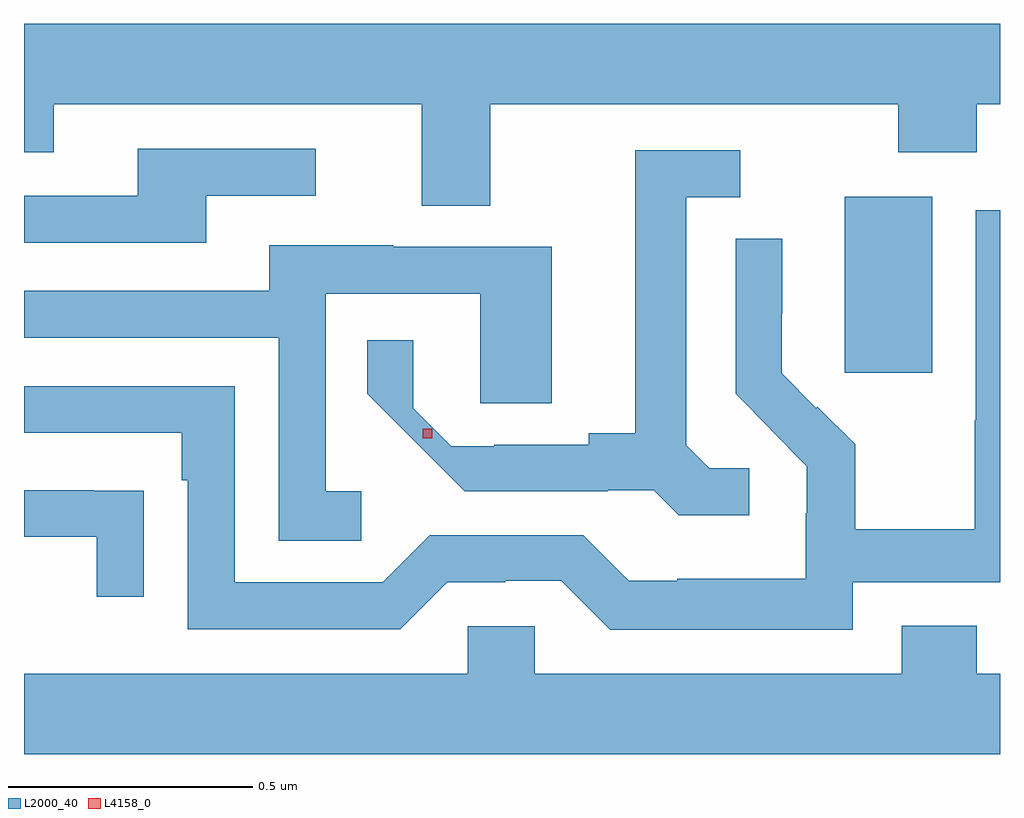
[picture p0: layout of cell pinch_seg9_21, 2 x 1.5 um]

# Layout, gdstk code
import gdstk
lib = gdstk.Library(unit=1e-6, precision=1e-09)
def R(c, l, rs):  # rectangles x0, y0, x1, y1
    for r in rs: c.add(gdstk.rectangle(r[:2], r[2:], *l))
def P(c, l, *ps):  # polygons
    for p in ps: c.add(gdstk.Polygon(p, *l))
L2000_40 = (2000, 40)
L4158_0 = (4158, 0)

pinch_seg9_21 = lib.new_cell('pinch_seg9_21')
R(pinch_seg9_21, L2000_40, [(1146.362,1210.521,1146.541,1210.882)])
P(pinch_seg9_21, L2000_40, [(1145.635,1211.072),(1146.472,1211.072),(1146.472,1210.973),(1146.632,1210.973),(1146.632,1211.072),(1146.68,1211.072),(1146.68,1211.236),(1144.68,1211.236),(1144.68,1210.973),(1144.741,1210.973),(1144.741,1211.072),(1145.495,1211.072),(1145.495,1210.864),(1145.635,1210.864)],
  [(1145.053,1210.884),(1145.278,1210.884),(1145.278,1210.98),(1144.913,1210.98),(1144.913,1210.884),(1144.68,1210.884),(1144.68,1210.788),(1145.053,1210.788)],
  [(1146.166,1210.326),(1146.084,1210.326),(1146.037,1210.373),(1146.037,1210.881),(1146.148,1210.881),(1146.148,1210.977),(1145.933,1210.977),(1145.933,1210.397),(1145.837,1210.397),(1145.837,1210.374),(1145.644,1210.374),(1145.644,1210.371),(1145.556,1210.371),(1145.478,1210.449),(1145.478,1210.588),(1145.383,1210.588),(1145.383,1210.478),(1145.583,1210.278),(1145.876,1210.278),(1145.876,1210.281),(1145.97,1210.281),(1146.022,1210.229),(1146.166,1210.229)],
  [(1146.378,1210.092),(1146.68,1210.092),(1146.68,1210.854),(1146.63,1210.854),(1146.63,1210.424),(1146.628,1210.424),(1146.628,1210.201),(1146.383,1210.201),(1146.383,1210.375),(1146.306,1210.452),(1146.303,1210.449),(1146.233,1210.52),(1146.233,1210.642),(1146.234,1210.642),(1146.234,1210.796),(1146.138,1210.796),(1146.138,1210.478),(1146.211,1210.405),(1146.21,1210.404),(1146.284,1210.33),(1146.284,1210.233),(1146.282,1210.233),(1146.282,1210.099),(1146.019,1210.099),(1146.019,1210.095),(1145.919,1210.095),(1145.826,1210.188),(1145.511,1210.188),(1145.415,1210.092),(1145.112,1210.092),(1145.112,1210.494),(1144.68,1210.494),(1144.68,1210.398),(1145.003,1210.398),(1145.003,1210.301),(1145.016,1210.301),(1145.016,1209.996),(1145.451,1209.996),(1145.547,1210.092),(1145.666,1210.092),(1145.666,1210.095),(1145.781,1210.095),(1145.881,1209.995),(1146.378,1209.995)],
  [(1145.371,1210.278),(1145.298,1210.278),(1145.298,1210.683),(1145.615,1210.683),(1145.615,1210.459),(1145.761,1210.459),(1145.761,1210.779),(1145.437,1210.779),(1145.437,1210.783),(1145.183,1210.783),(1145.183,1210.689),(1144.68,1210.689),(1144.68,1210.593),(1145.202,1210.593),(1145.202,1210.177),(1145.371,1210.177)],
  [(1144.925,1210.28),(1144.823,1210.28),(1144.823,1210.281),(1144.68,1210.281),(1144.68,1210.185),(1144.829,1210.185),(1144.829,1210.062),(1144.925,1210.062)],
  [(1146.68,1209.904),(1146.632,1209.904),(1146.632,1210.003),(1146.479,1210.003),(1146.479,1209.904),(1145.727,1209.904),(1145.727,1210.002),(1145.589,1210.002),(1145.589,1209.904),(1144.68,1209.904),(1144.68,1209.74),(1146.68,1209.74)])
R(pinch_seg9_21, L4158_0, [(1145.497,1210.387,1145.517,1210.407)])

lib.write_gds('pinch_seg9_21.gds')
